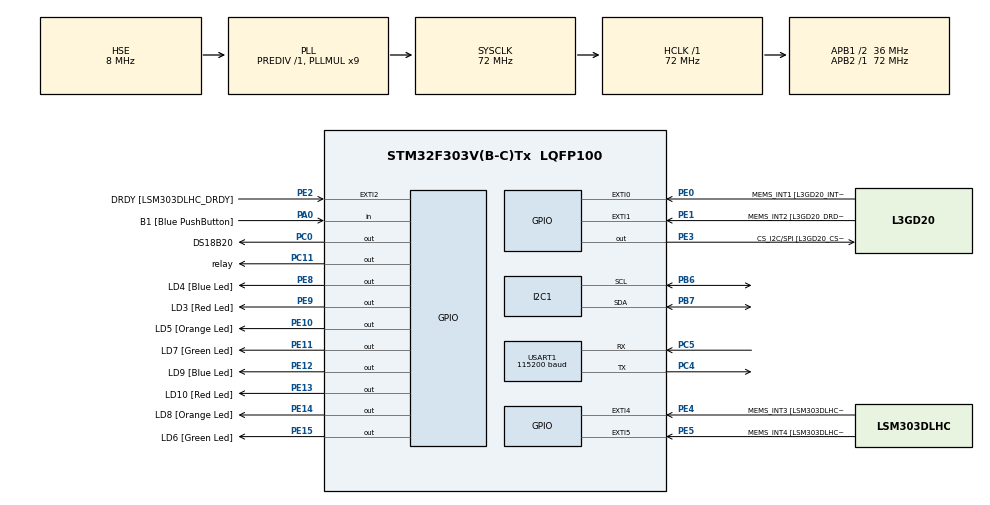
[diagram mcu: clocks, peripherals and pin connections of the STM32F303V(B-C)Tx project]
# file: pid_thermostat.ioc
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I2C1.Timing=0x00201D2B
Mcu.Family=STM32F3
Mcu.Name=STM32F303V(B-C)Tx
Mcu.Package=LQFP100
NVIC.PriorityGroup=NVIC_PRIORITYGROUP_0
PA0.GPIO_Label=B1 [Blue PushButton]
PA0.GPIO_Mode=GPIO_MODE_INPUT
PA0.GPIO_PuPd=GPIO_NOPULL
PA0.Signal=GPIO_Input
PA11.GPIO_Label=DM
PA11.Signal=USB_DM
PA12.GPIO_Label=DP
PA12.Signal=USB_DP
PA13.GPIO_Label=SWDIO
PA13.Signal=SYS_JTMS-SWDIO
PA14.GPIO_Label=SWCLK
PA14.Signal=SYS_JTCK-SWCLK
PA5.GPIO_Label=SPI1_SCK [L3GD20_SCL/SPC]
PA5.GPIO_Mode=GPIO_MODE_AF_PP
PA5.GPIO_PuPd=GPIO_NOPULL
PA5.GPIO_Speed=GPIO_SPEED_FREQ_LOW
PA5.Signal=SPI1_SCK
PA6.GPIO_Label=SPI1_MISO [L3GD20_SA0/SDO]
PA6.GPIO_Mode=GPIO_MODE_AF_PP
PA6.GPIO_PuPd=GPIO_NOPULL
PA6.GPIO_Speed=GPIO_SPEED_FREQ_LOW
PA6.Signal=SPI1_MISO
PA7.GPIO_Label=SPI1_MISO [L3GD20_SDA/SDI/SDO]
PA7.GPIO_Mode=GPIO_MODE_AF_PP
PA7.GPIO_PuPd=GPIO_NOPULL
PA7.GPIO_Speed=GPIO_SPEED_FREQ_LOW
PA7.Signal=SPI1_MOSI
PB3.GPIO_Label=SWO
PB3.Signal=SYS_JTDO-TRACESWO
PB6.Mode=I2C
PB6.Signal=I2C1_SCL
PB7.Mode=I2C
PB7.Signal=I2C1_SDA
PC0.GPIO_Label=DS18B20
PC0.GPIO_ModeDefaultOutputPP=GPIO_MODE_OUTPUT_OD
PC0.GPIO_PuPd=GPIO_PULLUP
PC0.GPIO_Speed=GPIO_SPEED_FREQ_LOW
PC0.PinState=GPIO_PIN_RESET
PC0.Signal=GPIO_Output
PC11.GPIO_Label=relay
PC11.GPIO_ModeDefaultOutputPP=GPIO_MODE_OUTPUT_OD
PC11.GPIO_PuPd=GPIO_PULLUP
PC11.Signal=GPIO_Output
PC14-OSC32_IN.GPIO_Label=OSC32_IN
PC14-OSC32_IN.Signal=RCC_OSC32_IN
PC15-OSC32_OUT.GPIO_Label=OSC32_OUT
PC15-OSC32_OUT.Signal=RCC_OSC32_OUT
PC4.Mode=Asynchronous
PC4.Signal=USART1_TX
PC5.Mode=Asynchronous
PC5.Signal=USART1_RX
PE0.GPIO_Label=MEMS_INT1 [L3GD20_INT1]
PE0.GPIO_ModeDefaultEXTI=GPIO_MODE_EVT_RISING
PE0.GPIO_PuPd=GPIO_NOPULL
PE0.Signal=GPXTI0
PE1.GPIO_Label=MEMS_INT2 [L3GD20_DRDY/INT2]
PE1.GPIO_ModeDefaultEXTI=GPIO_MODE_EVT_RISING
PE1.GPIO_PuPd=GPIO_NOPULL
PE1.Signal=GPXTI1
PE10.GPIO_Label=LD5 [Orange Led]
PE10.GPIO_ModeDefaultOutputPP=GPIO_MODE_OUTPUT_PP
PE10.GPIO_PuPd=GPIO_NOPULL
PE10.GPIO_Speed=GPIO_SPEED_FREQ_LOW
PE10.Signal=GPIO_Output
PE11.GPIO_Label=LD7 [Green Led]
PE11.GPIO_ModeDefaultOutputPP=GPIO_MODE_OUTPUT_PP
PE11.GPIO_PuPd=GPIO_NOPULL
PE11.GPIO_Speed=GPIO_SPEED_FREQ_LOW
PE11.Signal=GPIO_Output
PE12.GPIO_Label=LD9 [Blue Led]
PE12.GPIO_ModeDefaultOutputPP=GPIO_MODE_OUTPUT_PP
PE12.GPIO_PuPd=GPIO_NOPULL
PE12.GPIO_Speed=GPIO_SPEED_FREQ_LOW
PE12.Signal=GPIO_Output
PE13.GPIO_Label=LD10 [Red Led]
PE13.GPIO_ModeDefaultOutputPP=GPIO_MODE_OUTPUT_PP
PE13.GPIO_PuPd=GPIO_NOPULL
PE13.GPIO_Speed=GPIO_SPEED_FREQ_LOW
PE13.Signal=GPIO_Output
PE14.GPIO_Label=LD8 [Orange Led]
PE14.GPIO_ModeDefaultOutputPP=GPIO_MODE_OUTPUT_PP
PE14.GPIO_PuPd=GPIO_NOPULL
PE14.GPIO_Speed=GPIO_SPEED_FREQ_LOW
PE14.Signal=GPIO_Output
PE15.GPIO_Label=LD6 [Green Led]
PE15.GPIO_ModeDefaultOutputPP=GPIO_MODE_OUTPUT_PP
PE15.GPIO_PuPd=GPIO_NOPULL
PE15.GPIO_Speed=GPIO_SPEED_FREQ_LOW
PE15.Signal=GPIO_Output
PE2.GPIO_Label=DRDY [LSM303DLHC_DRDY]
PE2.GPIO_ModeDefaultEXTI=GPIO_MODE_EVT_RISING
PE2.GPIO_PuPd=GPIO_NOPULL
PE2.Signal=GPXTI2
PE3.GPIO_Label=CS_I2C/SPI [L3GD20_CS_I2C/SPI]
PE3.GPIO_ModeDefaultOutputPP=GPIO_MODE_OUTPUT_PP
PE3.GPIO_PuPd=GPIO_NOPULL
PE3.GPIO_Speed=GPIO_SPEED_FREQ_LOW
PE3.Signal=GPIO_Output
PE4.GPIO_Label=MEMS_INT3 [LSM303DLHC_INT1]
PE4.GPIO_ModeDefaultEXTI=GPIO_MODE_EVT_RISING
PE4.GPIO_PuPd=GPIO_NOPULL
PE4.Signal=GPXTI4
PE5.GPIO_Label=MEMS_INT4 [LSM303DLHC_INT2]
PE5.GPIO_ModeDefaultEXTI=GPIO_MODE_EVT_RISING
PE5.GPIO_PuPd=GPIO_NOPULL
PE5.Signal=GPXTI5
PE8.GPIO_Label=LD4 [Blue Led]
PE8.GPIO_ModeDefaultOutputPP=GPIO_MODE_OUTPUT_PP
PE8.GPIO_PuPd=GPIO_NOPULL
PE8.GPIO_Speed=GPIO_SPEED_FREQ_LOW
PE8.Signal=GPIO_Output
PE9.GPIO_Label=LD3 [Red Led]
PE9.GPIO_ModeDefaultOutputPP=GPIO_MODE_OUTPUT_PP
PE9.GPIO_PuPd=GPIO_NOPULL
PE9.GPIO_Speed=GPIO_SPEED_FREQ_LOW
PE9.Signal=GPIO_Output
PF0-OSC_IN.GPIO_Label=OSC_IN
PF0-OSC_IN.Mode=HSE-External-Oscillator
PF0-OSC_IN.Signal=RCC_OSC_IN
PF1-OSC_OUT.GPIO_Label=OSC_OUT
PF1-OSC_OUT.Mode=HSE-External-Oscillator
PF1-OSC_OUT.Signal=RCC_OSC_OUT
ProjectManager.HeapSize=0x200
ProjectManager.StackSize=0x400
ProjectManager.TargetToolchain=STM32CubeIDE
RCC.AHBFreq_Value=72000000
RCC.APB1CLKDivider=RCC_HCLK_DIV2
RCC.APB1Freq_Value=36000000
RCC.APB1TimFreq_Value=72000000
RCC.APB2Freq_Value=72000000
RCC.APB2TimFreq_Value=72000000
RCC.CortexFreq_Value=72000000
RCC.HCLKFreq_Value=72000000
RCC.HSE_VALUE=8000000
RCC.HSI_VALUE=8000000
RCC.LSE_VALUE=32768
RCC.PLLMUL=RCC_PLL_MUL9
RCC.PLLSourceVirtual=RCC_PLLSOURCE_HSE
RCC.SYSCLKFreq_VALUE=72000000
RCC.SYSCLKSourceVirtual=RCC_SYSCLKSOURCE_PLLCLK
RCC.USBFreq_Value=72000000
TIM6.Prescaler=71
USART1.BaudRate=115200
USART1.VirtualMode-Asynchronous=VM_ASYNC
VP_TIM6_VS_ClockSourceINT.Mode=Enable_Timer
board=STM32F3DISCOVERY

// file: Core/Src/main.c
/* USER CODE BEGIN Header */
/**
  ******************************************************************************
  * @file           : main.c
  * @brief          : Main program body
  ******************************************************************************
  * @attention
  *
  * Copyright (c) 2026 STMicroelectronics.
  * All rights reserved.
  *
  * This software is licensed under terms that can be found in the LICENSE file
  * in the root directory of this software component.
  * If no LICENSE file comes with this software, it is provided AS-IS.
  *
  ******************************************************************************
  */
/* USER CODE END Header */
#include "main.h"

#include <stdio.h>
#include <stdarg.h>
#include <string.h>
#include <stdbool.h>

I2C_HandleTypeDef hi2c1;

TIM_HandleTypeDef htim6;

UART_HandleTypeDef huart1;

void SystemClock_Config(void);
static void MX_GPIO_Init(void);
static void MX_I2C1_Init(void);
static void MX_USART1_UART_Init(void);
static void MX_TIM6_Init(void);
/* USER CODE BEGIN PFP */

void delay_us(uint16_t delay)
{
	uint16_t start = TIM6->CNT;
	uint16_t now = start;

	while ((uint16_t)(now-start) < delay) {
		now = TIM6->CNT;
	}
}

// Reading the OneWire line`s state
static bool read_line(GPIO_TypeDef* gpio, uint16_t pin)
{
	return HAL_GPIO_ReadPin(gpio, pin) == GPIO_PIN_SET;
}

// Onewire Bus init. Returns true if the sensor was found
static bool ow_reset(void)
{
	HAL_GPIO_WritePin(GPIOC, DS18B20_Pin, GPIO_PIN_RESET);
	delay_us(480);

	HAL_GPIO_WritePin(GPIOC, DS18B20_Pin, GPIO_PIN_SET);
	delay_us(70);

	bool present = !read_line(GPIOC, DS18B20_Pin); // LOW = sensor found

	delay_us(410);
	return present;
}

// Write one bit
static void ow_write_bit(bool bit)
{
	HAL_GPIO_WritePin(GPIOC, DS18B20_Pin, GPIO_PIN_RESET);
	if (bit) {
		delay_us(5);
		HAL_GPIO_WritePin(GPIOC, DS18B20_Pin, GPIO_PIN_SET);
		delay_us(55);
	}
	else {
		delay_us(60);
		HAL_GPIO_WritePin(GPIOC, DS18B20_Pin, GPIO_PIN_SET);
		delay_us(5);
	}
}
// Read one bit
static bool ow_read_bit(void)
{
    HAL_GPIO_WritePin(GPIOC, DS18B20_Pin, GPIO_PIN_RESET);
    delay_us(3);

    HAL_GPIO_WritePin(GPIOC, DS18B20_Pin, GPIO_PIN_SET);
    delay_us(10);

    bool bit = read_line(GPIOC, DS18B20_Pin);

    delay_us(47);
    return bit;
}

// Write one byte
static void ow_write_byte(uint8_t byte)
{
	for (int i=0; i<8; i++) {
		ow_write_bit((byte >> i) & 1U == 1);
	}
}

// Read one byte
static uint8_t ow_read_byte(void)
{
	uint8_t byte = 0;
	for (int i = 0; i<8; i++){
		if (ow_read_bit()) {
			byte |= (uint8_t)(1U << i);
		}
	}
	return byte;
}

// Read scratchpad on the sensor
static bool read_scratchpad(uint8_t scratchpad[9]){
	if (!ow_reset()) return false;

	ow_write_byte(0xCC);
	ow_write_byte(0xBE);

	for (int i = 0; i < 9; i++) {
		scratchpad[i] = ow_read_byte();
	}
	return crc8(scratchpad, 8) == scratchpad[8];
}

// Measure the temperature
static bool read_temperature(int32_t *centi_c)
{
	if (!ow_reset()) return false;
	ow_write_byte(0xCC);
	ow_write_byte(0x44);

	HAL_Delay(750);

	uint8_t scratchpad[9];
	for (int attempt = 0; attempt < 3; attempt ++){
		if (read_scratchpad(scratchpad)) {
			int16_t raw = (int16_t)((scratchpad[1] << 8) | scratchpad[0]);
			*centi_c = ((int32_t)raw * 100) / 16;

			return true;
		}
		uart_printf("read_temperature retry\n\r");
	}
    uart_printf("temperature sensor did not answer\n\r");

   	return false;
}

static void user_input_parse(uint8_t buffer, size_t len) {

}

/*
static void user_input_read(uint8_t buffer, size_t len, uint8_t pByte) {
	if (HAL_UART_Receive(&huart1, *buffer, len, 100) == HAL_UART_STATE_READY) {
		uint8_t byte = buffer[pByte];
		if (byte == '\n' || byte == '\r') {
			user_input_parse(buffer, len);
			buffer = {0};
		}
	}
}
*/

/* USER CODE END PFP */

int main(void)
{

  /* MCU Configuration--------------------------------------------------------*/

  /* Reset of all peripherals, Initializes the Flash interface and the Systick. */
  HAL_Init();

  /* Configure the system clock */
  SystemClock_Config();

  /* Initialize all configured peripherals */
  MX_GPIO_Init();
  MX_I2C1_Init();
  MX_USART1_UART_Init();
  MX_TIM6_Init();
  /* USER CODE BEGIN 2 */
	HAL_TIM_Base_Start(&htim6);

	int32_t centi_c;

//	int total_errors = 0;
//	const int iterations = 100000;
//
//	uart_printf("total errors: %lu \n\r", (long)total_errors);
//	for (int i = 0; i < iterations; i++) {
//		if (!read_temperature(&centi_c)) {
//			total_errors ++;
//		}
//	}
//	uart_printf("total errors: %lu \n\r", (long)total_errors);

  /* USER CODE END 2 */

  /* Infinite loop */
  /* USER CODE BEGIN WHILE */
  while (1)
  {

	  if (read_temperature(&centi_c)) {
		  uart_printf("temp: %ld\r\n", (long)centi_c);
	  }
	  else {
		  uart_printf("error!");
	  }

    /* USER CODE END WHILE */

  }
}

void SystemClock_Config(void)
{
  RCC_OscInitTypeDef RCC_OscInitStruct = {0};
  RCC_ClkInitTypeDef RCC_ClkInitStruct = {0};
  RCC_PeriphCLKInitTypeDef PeriphClkInit = {0};

  /** Initializes the RCC Oscillators according to the specified parameters
  * in the RCC_OscInitTypeDef structure.
  */
  RCC_OscInitStruct.OscillatorType = RCC_OSCILLATORTYPE_HSI|RCC_OSCILLATORTYPE_HSE;
  RCC_OscInitStruct.HSEState = RCC_HSE_ON;
  RCC_OscInitStruct.HSEPredivValue = RCC_HSE_PREDIV_DIV1;
  RCC_OscInitStruct.HSIState = RCC_HSI_ON;
  RCC_OscInitStruct.HSICalibrationValue = RCC_HSICALIBRATION_DEFAULT;
  RCC_OscInitStruct.PLL.PLLState = RCC_PLL_ON;
  RCC_OscInitStruct.PLL.PLLSource = RCC_PLLSOURCE_HSE;
  RCC_OscInitStruct.PLL.PLLMUL = RCC_PLL_MUL9;
  if (HAL_RCC_OscConfig(&RCC_OscInitStruct) != HAL_OK)
  {
    Error_Handler();
  }

  /** Initializes the CPU, AHB and APB buses clocks
  */
  RCC_ClkInitStruct.ClockType = RCC_CLOCKTYPE_HCLK|RCC_CLOCKTYPE_SYSCLK
                              |RCC_CLOCKTYPE_PCLK1|RCC_CLOCKTYPE_PCLK2;
  RCC_ClkInitStruct.SYSCLKSource = RCC_SYSCLKSOURCE_PLLCLK;
  RCC_ClkInitStruct.AHBCLKDivider = RCC_SYSCLK_DIV1;
  RCC_ClkInitStruct.APB1CLKDivider = RCC_HCLK_DIV2;
  RCC_ClkInitStruct.APB2CLKDivider = RCC_HCLK_DIV1;

  if (HAL_RCC_ClockConfig(&RCC_ClkInitStruct, FLASH_LATENCY_2) != HAL_OK)
  {
    Error_Handler();
  }
  PeriphClkInit.PeriphClockSelection = RCC_PERIPHCLK_USART1|RCC_PERIPHCLK_I2C1;
  PeriphClkInit.Usart1ClockSelection = RCC_USART1CLKSOURCE_PCLK2;
  PeriphClkInit.I2c1ClockSelection = RCC_I2C1CLKSOURCE_HSI;
  if (HAL_RCCEx_PeriphCLKConfig(&PeriphClkInit) != HAL_OK)
  {
    Error_Handler();
  }
}

static void MX_I2C1_Init(void)
{

  hi2c1.Instance = I2C1;
  hi2c1.Init.Timing = 0x00201D2B;
  hi2c1.Init.OwnAddress1 = 0;
  hi2c1.Init.AddressingMode = I2C_ADDRESSINGMODE_7BIT;
  hi2c1.Init.DualAddressMode = I2C_DUALADDRESS_DISABLE;
  hi2c1.Init.OwnAddress2 = 0;
  hi2c1.Init.OwnAddress2Masks = I2C_OA2_NOMASK;
  hi2c1.Init.GeneralCallMode = I2C_GENERALCALL_DISABLE;
  hi2c1.Init.NoStretchMode = I2C_NOSTRETCH_DISABLE;
  if (HAL_I2C_Init(&hi2c1) != HAL_OK)
  {
    Error_Handler();
  }

  /** Configure Analogue filter
  */
  if (HAL_I2CEx_ConfigAnalogFilter(&hi2c1, I2C_ANALOGFILTER_ENABLE) != HAL_OK)
  {
    Error_Handler();
  }

  /** Configure Digital filter
  */
  if (HAL_I2CEx_ConfigDigitalFilter(&hi2c1, 0) != HAL_OK)
  {
    Error_Handler();
  }

}

static void MX_TIM6_Init(void)
{

  TIM_MasterConfigTypeDef sMasterConfig = {0};

  htim6.Instance = TIM6;
  htim6.Init.Prescaler = 71;
  htim6.Init.CounterMode = TIM_COUNTERMODE_UP;
  htim6.Init.Period = 65535;
  htim6.Init.AutoReloadPreload = TIM_AUTORELOAD_PRELOAD_DISABLE;
  if (HAL_TIM_Base_Init(&htim6) != HAL_OK)
  {
    Error_Handler();
  }
  sMasterConfig.MasterOutputTrigger = TIM_TRGO_RESET;
  sMasterConfig.MasterSlaveMode = TIM_MASTERSLAVEMODE_DISABLE;
  if (HAL_TIMEx_MasterConfigSynchronization(&htim6, &sMasterConfig) != HAL_OK)
  {
    Error_Handler();
  }

}

static void MX_USART1_UART_Init(void)
{

  huart1.Instance = USART1;
  huart1.Init.BaudRate = 115200;
  huart1.Init.WordLength = UART_WORDLENGTH_8B;
  huart1.Init.StopBits = UART_STOPBITS_1;
  huart1.Init.Parity = UART_PARITY_NONE;
  huart1.Init.Mode = UART_MODE_TX_RX;
  huart1.Init.HwFlowCtl = UART_HWCONTROL_NONE;
  huart1.Init.OverSampling = UART_OVERSAMPLING_16;
  huart1.Init.OneBitSampling = UART_ONE_BIT_SAMPLE_DISABLE;
  huart1.AdvancedInit.AdvFeatureInit = UART_ADVFEATURE_NO_INIT;
  if (HAL_UART_Init(&huart1) != HAL_OK)
  {
    Error_Handler();
  }

}

static void MX_GPIO_Init(void)
{
  GPIO_InitTypeDef GPIO_InitStruct = {0};

  /* GPIO Ports Clock Enable */
  __HAL_RCC_GPIOE_CLK_ENABLE();
  __HAL_RCC_GPIOC_CLK_ENABLE();
  __HAL_RCC_GPIOF_CLK_ENABLE();
  __HAL_RCC_GPIOA_CLK_ENABLE();
  __HAL_RCC_GPIOB_CLK_ENABLE();

  /*Configure GPIO pin Output Level */
  HAL_GPIO_WritePin(GPIOE, CS_I2C_SPI_Pin|LD4_Pin|LD3_Pin|LD5_Pin
                          |LD7_Pin|LD9_Pin|LD10_Pin|LD8_Pin
                          |LD6_Pin, GPIO_PIN_RESET);

  /*Configure GPIO pin Output Level */
  HAL_GPIO_WritePin(GPIOC, DS18B20_Pin|relay_Pin, GPIO_PIN_RESET);

  /*Configure GPIO pins : DRDY_Pin MEMS_INT3_Pin MEMS_INT4_Pin MEMS_INT1_Pin
                           MEMS_INT2_Pin */
  GPIO_InitStruct.Pin = DRDY_Pin|MEMS_INT3_Pin|MEMS_INT4_Pin|MEMS_INT1_Pin
                          |MEMS_INT2_Pin;
  GPIO_InitStruct.Mode = GPIO_MODE_EVT_RISING;
  GPIO_InitStruct.Pull = GPIO_NOPULL;
  HAL_GPIO_Init(GPIOE, &GPIO_InitStruct);

  /*Configure GPIO pins : CS_I2C_SPI_Pin LD4_Pin LD3_Pin LD5_Pin
                           LD7_Pin LD9_Pin LD10_Pin LD8_Pin
                           LD6_Pin */
  GPIO_InitStruct.Pin = CS_I2C_SPI_Pin|LD4_Pin|LD3_Pin|LD5_Pin
                          |LD7_Pin|LD9_Pin|LD10_Pin|LD8_Pin
                          |LD6_Pin;
  GPIO_InitStruct.Mode = GPIO_MODE_OUTPUT_PP;
  GPIO_InitStruct.Pull = GPIO_NOPULL;
  GPIO_InitStruct.Speed = GPIO_SPEED_FREQ_LOW;
  HAL_GPIO_Init(GPIOE, &GPIO_InitStruct);

  /*Configure GPIO pins : DS18B20_Pin relay_Pin */
  GPIO_InitStruct.Pin = DS18B20_Pin|relay_Pin;
  GPIO_InitStruct.Mode = GPIO_MODE_OUTPUT_OD;
  GPIO_InitStruct.Pull = GPIO_PULLUP;
  GPIO_InitStruct.Speed = GPIO_SPEED_FREQ_LOW;
  HAL_GPIO_Init(GPIOC, &GPIO_InitStruct);

  /*Configure GPIO pin : B1_Pin */
  GPIO_InitStruct.Pin = B1_Pin;
  GPIO_InitStruct.Mode = GPIO_MODE_INPUT;
  GPIO_InitStruct.Pull = GPIO_NOPULL;
  HAL_GPIO_Init(B1_GPIO_Port, &GPIO_InitStruct);

  /*Configure GPIO pins : SPI1_SCK_Pin SPI1_MISO_Pin SPI1_MISOA7_Pin */
  GPIO_InitStruct.Pin = SPI1_SCK_Pin|SPI1_MISO_Pin|SPI1_MISOA7_Pin;
  GPIO_InitStruct.Mode = GPIO_MODE_AF_PP;
  GPIO_InitStruct.Pull = GPIO_NOPULL;
  GPIO_InitStruct.Speed = GPIO_SPEED_FREQ_LOW;
  GPIO_InitStruct.Alternate = GPIO_AF5_SPI1;
  HAL_GPIO_Init(GPIOA, &GPIO_InitStruct);

  /*Configure GPIO pins : DM_Pin DP_Pin */
  GPIO_InitStruct.Pin = DM_Pin|DP_Pin;
  GPIO_InitStruct.Mode = GPIO_MODE_AF_PP;
  GPIO_InitStruct.Pull = GPIO_NOPULL;
  GPIO_InitStruct.Speed = GPIO_SPEED_FREQ_HIGH;
  GPIO_InitStruct.Alternate = GPIO_AF14_USB;
  HAL_GPIO_Init(GPIOA, &GPIO_InitStruct);

}

void Error_Handler(void)
{
  __disable_irq();
  while (1)
  {
  }
}
